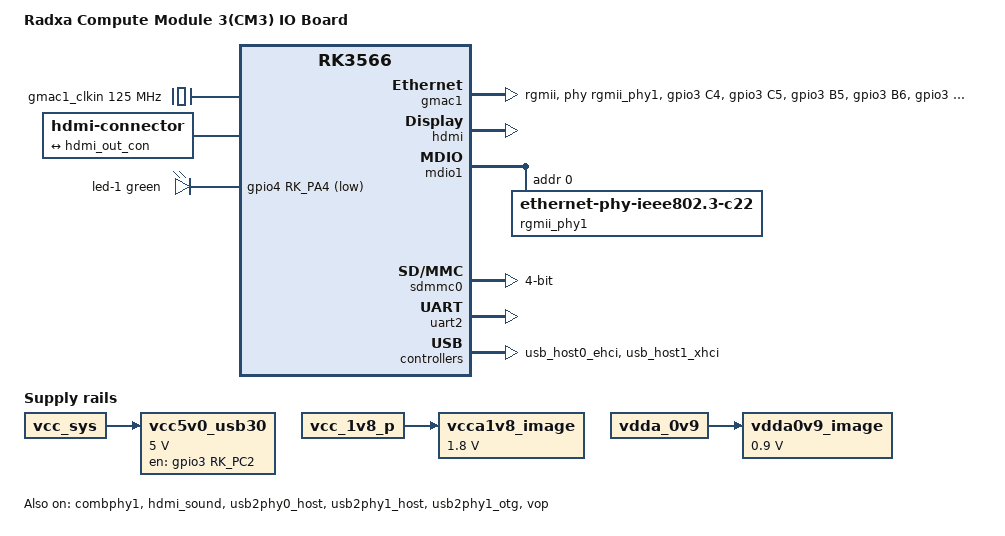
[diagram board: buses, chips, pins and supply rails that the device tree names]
// SPDX-License-Identifier: (GPL-2.0+ OR MIT)
/*
 * Copyright (c) 2022 Radxa Limited
 * Copyright (c) 2022 Amarula Solutions(India)
 */

/dts-v1/;
#include <dt-bindings/soc/rockchip,vop2.h>
#include "rk3566.dtsi"
#include "rk3566-radxa-cm3.dtsi"

/ {
	model = "Radxa Compute Module 3(CM3) IO Board";
	compatible = "radxa,cm3-io", "radxa,cm3", "rockchip,rk3566";

	aliases {
		mmc1 = &sdmmc0;
	};

	chosen: chosen {
		stdout-path = "serial2:1500000n8";
	};

	gmac1_clkin: external-gmac1-clock {
		compatible = "fixed-clock";
		clock-frequency = <125000000>;
		clock-output-names = "gmac1_clkin";
		#clock-cells = <0>;
	};

	hdmi-con {
		compatible = "hdmi-connector";
		type = "a";

		port {
			hdmi_con_in: endpoint {
				remote-endpoint = <&hdmi_out_con>;
			};
		};
	};

	leds {
		compatible = "gpio-leds";

		led-1 {
			gpios = <&gpio4 RK_PA4 GPIO_ACTIVE_LOW>;
			color = <LED_COLOR_ID_GREEN>;
			function = LED_FUNCTION_ACTIVITY;
			linux,default-trigger = "heartbeat";
			pinctrl-names = "default";
			pinctrl-0 = <&pi_nled_activity>;
		};
	};

	vcc5v0_usb30: vcc5v0-usb30-regulator {
		compatible = "regulator-fixed";
		regulator-name = "vcc5v0_usb30";
		enable-active-high;
		gpio = <&gpio3 RK_PC2 GPIO_ACTIVE_HIGH>;
		pinctrl-names = "default";
		pinctrl-0 = <&vcc5v0_usb30_en_h>;
		regulator-always-on;
		regulator-min-microvolt = <5000000>;
		regulator-max-microvolt = <5000000>;
		vin-supply = <&vcc_sys>;
	};

	vcca1v8_image: vcca1v8-image-regulator {
		compatible = "regulator-fixed";
		regulator-name = "vcca1v8_image";
		regulator-always-on;
		regulator-boot-on;
		regulator-min-microvolt = <1800000>;
		regulator-max-microvolt = <1800000>;
		vin-supply = <&vcc_1v8_p>;
	};

	vdda0v9_image: vdda0v9-image-regulator {
		compatible = "regulator-fixed";
		regulator-name = "vcca0v9_image";
		regulator-always-on;
		regulator-boot-on;
		regulator-min-microvolt = <900000>;
		regulator-max-microvolt = <900000>;
		vin-supply = <&vdda_0v9>;
	};
};

&combphy1 {
	status = "okay";
};

&gmac1 {
	assigned-clocks = <&cru SCLK_GMAC1_RX_TX>, <&cru SCLK_GMAC1>;
	assigned-clock-parents = <&cru SCLK_GMAC1_RGMII_SPEED>, <&gmac1_clkin>;
	assigned-clock-rates = <0>, <125000000>;
	clock_in_out = "input";
	phy-handle = <&rgmii_phy1>;
	phy-mode = "rgmii";
	pinctrl-names = "default";
	pinctrl-0 = <&gmac1m0_miim
		     &gmac1m0_tx_bus2
		     &gmac1m0_rx_bus2
		     &gmac1m0_rgmii_clk
		     &gmac1m0_rgmii_bus
		     &gmac1m0_clkinout>;
	snps,reset-gpio = <&gpio4 RK_PC2 GPIO_ACTIVE_LOW>;
	snps,reset-active-low;
	/* Reset time is 20ms, 100ms for rtl8211f */
	snps,reset-delays-us = <0 20000 100000>;
	tx_delay = <0x46>;
	rx_delay = <0x2e>;
	status = "okay";
};

&hdmi {
	avdd-0v9-supply = <&vdda0v9_image>;
	avdd-1v8-supply = <&vcca1v8_image>;
	status = "okay";
};

&hdmi_in {
	hdmi_in_vp0: endpoint {
		remote-endpoint = <&vp0_out_hdmi>;
	};
};

&hdmi_out {
	hdmi_out_con: endpoint {
		remote-endpoint = <&hdmi_con_in>;
	};
};

&hdmi_sound {
	status = "okay";
};

&mdio1 {
	rgmii_phy1: ethernet-phy@0 {
		compatible="ethernet-phy-ieee802.3-c22";
		reg= <0x0>;
	};
};

&pinctrl {
	gmac1 {
		gmac1m0_miim: gmac1m0-miim {
			rockchip,pins =
				/* gmac1_mdcm0 */
				<3 RK_PC4 3 &pcfg_pull_none_drv_level_15>,
				/* gmac1_mdiom0 */
				<3 RK_PC5 3 &pcfg_pull_none_drv_level_15>;
		};

		gmac1m0_rx_bus2: gmac1m0-rx-bus2 {
			rockchip,pins =
				/* gmac1_rxd0m0 */
				<3 RK_PB1 3 &pcfg_pull_none_drv_level_15>,
				/* gmac1_rxd1m0 */
				<3 RK_PB2 3 &pcfg_pull_none_drv_level_15>,
				/* gmac1_rxdvcrsm0 */
				<3 RK_PB3 3 &pcfg_pull_none_drv_level_15>;
		};

		gmac1m0_tx_bus2: gmac1m0-tx-bus2 {
			rockchip,pins =
				/* gmac1_txd0m0 */
				<3 RK_PB5 3 &pcfg_pull_none_drv_level_15>,
				/* gmac1_txd1m0 */
				<3 RK_PB6 3 &pcfg_pull_none_drv_level_15>,
				/* gmac1_txenm0 */
				<3 RK_PB7 3 &pcfg_pull_none_drv_level_15>;
		};

		gmac1m0_rgmii_clk: gmac1m0-rgmii-clk {
			rockchip,pins =
				/* gmac1_rxclkm0 */
				<3 RK_PA7 3 &pcfg_pull_none_drv_level_15>,
				/* gmac1_txclkm0 */
				<3 RK_PA6 3 &pcfg_pull_none_drv_level_15>;
		};

		gmac1m0_rgmii_bus: gmac1m0-rgmii-bus {
			rockchip,pins =
				/* gmac1_rxd2m0 */
				<3 RK_PA4 3 &pcfg_pull_none_drv_level_15>,
				/* gmac1_rxd3m0 */
				<3 RK_PA5 3 &pcfg_pull_none_drv_level_15>,
				/* gmac1_txd2m0 */
				<3 RK_PA2 3 &pcfg_pull_none_drv_level_15>,
				/* gmac1_txd3m0 */
				<3 RK_PA3 3 &pcfg_pull_none_drv_level_15>;
		};

		gmac1m0_clkinout: gmac1m0-clkinout {
			rockchip,pins =
				/* gmac1_mclkinoutm0 */
				<3 RK_PC0 3 &pcfg_pull_none_drv_level_15>;
		};
	};

	leds {
		pi_nled_activity: pi-nled-activity {
			rockchip,pins = <4 RK_PA4 RK_FUNC_GPIO &pcfg_pull_none>;
		};
	};

	sdcard {
		sdmmc_pwren: sdmmc-pwren {
			rockchip,pins = <0 RK_PA5 RK_FUNC_GPIO &pcfg_pull_none>;
		};
	};

	usb {
		vcc5v0_usb30_en_h: vcc5v0-host-en-h {
			rockchip,pins = <3 RK_PC2 RK_FUNC_GPIO &pcfg_pull_none>;
		};
	};
};

&sdmmc0 {
	bus-width = <4>;
	cap-mmc-highspeed;
	cap-sd-highspeed;
	disable-wp;
	vqmmc-supply = <&vccio_sd>;
	pinctrl-names = "default";
	pinctrl-0 = <&sdmmc0_bus4 &sdmmc0_clk &sdmmc0_cmd &sdmmc0_det &sdmmc0_pwren>;
	status = "okay";
};

&uart2 {
	status = "okay";
};

&usb2phy0_host {
	phy-supply = <&vcc5v0_usb30>;
	status = "okay";
};

&usb2phy1_host {
	status = "okay";
};

&usb2phy1_otg {
	status = "okay";
};

&usb_host0_ehci {
	status = "okay";
};

&usb_host1_xhci {
	status = "okay";
};

&vop {
	assigned-clocks = <&cru DCLK_VOP0>, <&cru DCLK_VOP1>;
	assigned-clock-parents = <&pmucru PLL_HPLL>, <&cru PLL_VPLL>;
	status = "okay";
};

&vop_mmu {
	status = "okay";
};

&vp0 {
	vp0_out_hdmi: endpoint@ROCKCHIP_VOP2_EP_HDMI0 {
		reg = <ROCKCHIP_VOP2_EP_HDMI0>;
		remote-endpoint = <&hdmi_in_vp0>;
	};
};
